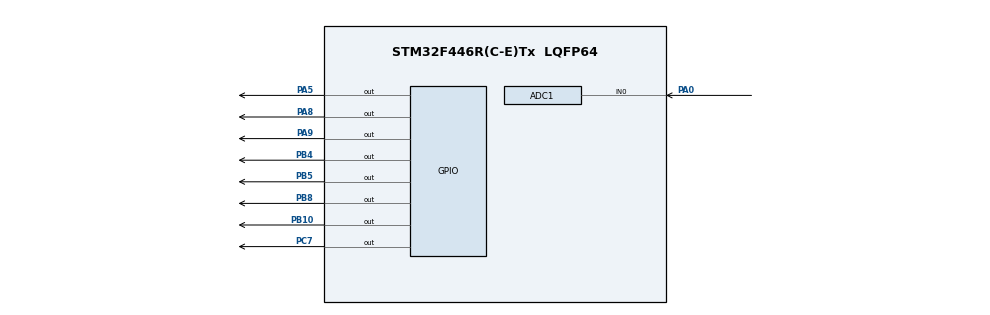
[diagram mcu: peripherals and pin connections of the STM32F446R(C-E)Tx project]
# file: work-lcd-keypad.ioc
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ADC1.Channel-0\#ChannelRegularConversion=ADC_CHANNEL_0
ADC1.ClockPrescaler=ADC_CLOCK_SYNC_PCLK_DIV2
ADC1.NbrOfConversionFlag=1
ADC1.Rank-0\#ChannelRegularConversion=1
ADC1.Resolution=ADC_RESOLUTION_10B
ADC1.SamplingTime-0\#ChannelRegularConversion=ADC_SAMPLETIME_3CYCLES
ADC1.master=1
Mcu.Family=STM32F4
Mcu.Name=STM32F446R(C-E)Tx
Mcu.Package=LQFP64
NVIC.PriorityGroup=NVIC_PRIORITYGROUP_4
PA0-WKUP.Signal=ADCx_IN0
PA13.Mode=Serial_Wire
PA13.Signal=SYS_JTMS-SWDIO
PA14.Mode=Serial_Wire
PA14.Signal=SYS_JTCK-SWCLK
PA5.Signal=GPIO_Output
PA8.Signal=GPIO_Output
PA9.Signal=GPIO_Output
PB10.Signal=GPIO_Output
PB4.Signal=GPIO_Output
PB5.Signal=GPIO_Output
PB8.Signal=GPIO_Output
PC7.Signal=GPIO_Output
PH0-OSC_IN.Mode=HSE-External-Clock-Source
PH0-OSC_IN.Signal=RCC_OSC_IN
PH1-OSC_OUT.Mode=HSE-External-Clock-Source
PH1-OSC_OUT.Signal=RCC_OSC_OUT
ProjectManager.HeapSize=0x200
ProjectManager.StackSize=0x400
ProjectManager.TargetToolchain=STM32CubeIDE
RCC.CortexFreq_Value=16000000
RCC.USBFreq_Value=96000000
RCC.VCOOutputFreq_Value=192000000
SH.ADCx_IN0.0=ADC1_IN0,IN0
TIM2.Prescaler=16-1
VP_TIM2_VS_ClockSourceINT.Mode=Internal
board=custom

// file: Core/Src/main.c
/* USER CODE BEGIN Header */
/**
  ******************************************************************************
  * @file           : main.c
  * @brief          : Main program body
  ******************************************************************************
  * @attention
  *
  * Copyright (c) 2025 STMicroelectronics.
  * All rights reserved.
  *
  * This software is licensed under terms that can be found in the LICENSE file
  * in the root directory of this software component.
  * If no LICENSE file comes with this software, it is provided AS-IS.
  *
  ******************************************************************************
  */
/* USER CODE END Header */
#include "main.h"

ADC_HandleTypeDef hadc1;

TIM_HandleTypeDef htim2;

/* USER CODE BEGIN PV */

#define LCD_RS GPIOA, GPIO_PIN_9
#define LCD_RW GPIOB, GPIO_PIN_8
#define LCD_EN GPIOC, GPIO_PIN_7
#define LCD_D4 GPIOB, GPIO_PIN_5
#define LCD_D5 GPIOB, GPIO_PIN_4
#define LCD_D6 GPIOB, GPIO_PIN_10
#define LCD_D7 GPIOA, GPIO_PIN_8

void delay_us(uint32_t us)
{
	TIM2->CNT = 0;
	while(TIM2->CNT < us);
}

uint32_t GetElapsedTick(uint32_t start)
{
	uint32_t end = HAL_GetTick();
	if (end >= start)
		return end - start;
	else
		return 0xffff - start + end;
}

void LCD_Enable() {
    HAL_GPIO_WritePin(LCD_EN, GPIO_PIN_SET);
    delay_us(10);
    HAL_GPIO_WritePin(LCD_EN, GPIO_PIN_RESET);
    delay_us(10);
}

void LCD_Send4Bit(uint8_t data) {
    HAL_GPIO_WritePin(LCD_D4, (data & 0x01) ? GPIO_PIN_SET : GPIO_PIN_RESET);
    HAL_GPIO_WritePin(LCD_D5, (data & 0x02) ? GPIO_PIN_SET : GPIO_PIN_RESET);
    HAL_GPIO_WritePin(LCD_D6, (data & 0x04) ? GPIO_PIN_SET : GPIO_PIN_RESET);
    HAL_GPIO_WritePin(LCD_D7, (data & 0x08) ? GPIO_PIN_SET : GPIO_PIN_RESET);
    LCD_Enable();
}

void LCD_SendCommand(uint8_t cmd) {
    HAL_GPIO_WritePin(LCD_RS, GPIO_PIN_RESET);
    LCD_Send4Bit(cmd >> 4);
    LCD_Send4Bit(cmd & 0x0F);
}

void LCD_SendData(uint8_t data) {
    HAL_GPIO_WritePin(LCD_RS, GPIO_PIN_SET);
    LCD_Send4Bit(data >> 4);
    LCD_Send4Bit(data & 0x0F);
}

void LCD_Init() {
    LCD_SendCommand(0x28); // 4비트 모드, 2라인, 5x8 폰트
    LCD_SendCommand(0x0C); // 디스플레이 ON, 커서 OFF
    LCD_SendCommand(0x06); // 자동 이동, 오른쪽으로 이동
    LCD_SendCommand(0x01); // 화면 클리어

    HAL_Delay(2);
}

void LCD_SetCursor(uint8_t row, uint8_t col) {
    uint8_t pos = (row == 0) ? 0x80 + col : 0xC0 + col;
    LCD_SendCommand(pos);
}

void LCD_Print(char* str) {
    while (*str) {
        LCD_SendData(*str++);
    }
}

/* USER CODE END PV */

void SystemClock_Config(void);
static void MX_GPIO_Init(void);
static void MX_TIM2_Init(void);
static void MX_ADC1_Init(void);

/* USER CODE BEGIN 0 */

void ToggleRunLed()
{
	HAL_GPIO_TogglePin(GPIOA, GPIO_PIN_5);
}

uint32_t tm_run_led;

void ChangeRunLed()
{
	if (GetElapsedTick(tm_run_led) >= 500)
	{
		tm_run_led = HAL_GetTick();
		ToggleRunLed();
	}
}

// **ADC 버튼 읽기**
uint16_t Read_ADC(void) {
    HAL_ADC_Start(&hadc1);
    HAL_ADC_PollForConversion(&hadc1, HAL_MAX_DELAY);
    return HAL_ADC_GetValue(&hadc1);
}

#define BTN_SEL 1
#define BTN_LEFT 2
#define BTN_RIGHT 3
#define BTN_UP 4
#define BTN_DOWN 5

uint8_t ReadButton()
{
	uint16_t adc = Read_ADC();
	if (adc < 100) return BTN_RIGHT;
	else if(adc < 200) return BTN_UP;
	else if (adc < 400) return BTN_DOWN;
	else if (adc < 600) return BTN_LEFT;
	else if (adc < 800) return BTN_SEL;
	else return 0;
}

void InitWork()
{
	// 타이머 활성화
	HAL_TIM_Base_Start(&htim2);

	LCD_Init();
	LCD_SetCursor(0, 0);
	LCD_Print("Keypad Ready!");
}

uint32_t tm_work1;
uint32_t cnt;

void DoWork()
{
	ChangeRunLed();

	if (GetElapsedTick(tm_work1) >= 500)
	{
		tm_work1 = HAL_GetTick();

		cnt++;

		uint8_t btn = ReadButton();

		char buff[32];
		buff[0] = 0;

		if (btn == BTN_SEL) sprintf(buff, "SELECT");
		else if (btn == BTN_LEFT) sprintf(buff, "LEFT");
		else if (btn == BTN_RIGHT) sprintf(buff, "RIGHT");
		else if (btn == BTN_UP) sprintf(buff, "UP");
		else if (btn == BTN_DOWN) sprintf(buff, "DOWN");

		LCD_Init();
		LCD_SetCursor(0, 0);
		LCD_Print(buff);
	}

}

/* USER CODE END 0 */

int main(void)
{

  /* MCU Configuration--------------------------------------------------------*/

  /* Reset of all peripherals, Initializes the Flash interface and the Systick. */
  HAL_Init();

  /* Configure the system clock */
  SystemClock_Config();

  /* Initialize all configured peripherals */
  MX_GPIO_Init();
  MX_TIM2_Init();
  MX_ADC1_Init();
  /* USER CODE BEGIN 2 */

  InitWork();
  /* USER CODE END 2 */

  /* Infinite loop */
  /* USER CODE BEGIN WHILE */
  while (1)
  {
	  DoWork();
    /* USER CODE END WHILE */

  }
}

void SystemClock_Config(void)
{
  RCC_OscInitTypeDef RCC_OscInitStruct = {0};
  RCC_ClkInitTypeDef RCC_ClkInitStruct = {0};

  /** Configure the main internal regulator output voltage
  */
  __HAL_RCC_PWR_CLK_ENABLE();
  __HAL_PWR_VOLTAGESCALING_CONFIG(PWR_REGULATOR_VOLTAGE_SCALE3);

  /** Initializes the RCC Oscillators according to the specified parameters
  * in the RCC_OscInitTypeDef structure.
  */
  RCC_OscInitStruct.OscillatorType = RCC_OSCILLATORTYPE_HSI;
  RCC_OscInitStruct.HSIState = RCC_HSI_ON;
  RCC_OscInitStruct.HSICalibrationValue = RCC_HSICALIBRATION_DEFAULT;
  RCC_OscInitStruct.PLL.PLLState = RCC_PLL_NONE;
  if (HAL_RCC_OscConfig(&RCC_OscInitStruct) != HAL_OK)
  {
    Error_Handler();
  }

  /** Initializes the CPU, AHB and APB buses clocks
  */
  RCC_ClkInitStruct.ClockType = RCC_CLOCKTYPE_HCLK|RCC_CLOCKTYPE_SYSCLK
                              |RCC_CLOCKTYPE_PCLK1|RCC_CLOCKTYPE_PCLK2;
  RCC_ClkInitStruct.SYSCLKSource = RCC_SYSCLKSOURCE_HSI;
  RCC_ClkInitStruct.AHBCLKDivider = RCC_SYSCLK_DIV1;
  RCC_ClkInitStruct.APB1CLKDivider = RCC_HCLK_DIV1;
  RCC_ClkInitStruct.APB2CLKDivider = RCC_HCLK_DIV1;

  if (HAL_RCC_ClockConfig(&RCC_ClkInitStruct, FLASH_LATENCY_0) != HAL_OK)
  {
    Error_Handler();
  }
}

static void MX_ADC1_Init(void)
{

  ADC_ChannelConfTypeDef sConfig = {0};

  /** Configure the global features of the ADC (Clock, Resolution, Data Alignment and number of conversion)
  */
  hadc1.Instance = ADC1;
  hadc1.Init.ClockPrescaler = ADC_CLOCK_SYNC_PCLK_DIV2;
  hadc1.Init.Resolution = ADC_RESOLUTION_10B;
  hadc1.Init.ScanConvMode = DISABLE;
  hadc1.Init.ContinuousConvMode = DISABLE;
  hadc1.Init.DiscontinuousConvMode = DISABLE;
  hadc1.Init.ExternalTrigConvEdge = ADC_EXTERNALTRIGCONVEDGE_NONE;
  hadc1.Init.ExternalTrigConv = ADC_SOFTWARE_START;
  hadc1.Init.DataAlign = ADC_DATAALIGN_RIGHT;
  hadc1.Init.NbrOfConversion = 1;
  hadc1.Init.DMAContinuousRequests = DISABLE;
  hadc1.Init.EOCSelection = ADC_EOC_SINGLE_CONV;
  if (HAL_ADC_Init(&hadc1) != HAL_OK)
  {
    Error_Handler();
  }

  /** Configure for the selected ADC regular channel its corresponding rank in the sequencer and its sample time.
  */
  sConfig.Channel = ADC_CHANNEL_0;
  sConfig.Rank = 1;
  sConfig.SamplingTime = ADC_SAMPLETIME_3CYCLES;
  if (HAL_ADC_ConfigChannel(&hadc1, &sConfig) != HAL_OK)
  {
    Error_Handler();
  }

}

static void MX_TIM2_Init(void)
{

  TIM_ClockConfigTypeDef sClockSourceConfig = {0};
  TIM_MasterConfigTypeDef sMasterConfig = {0};

  htim2.Instance = TIM2;
  htim2.Init.Prescaler = 16-1;
  htim2.Init.CounterMode = TIM_COUNTERMODE_UP;
  htim2.Init.Period = 4294967295;
  htim2.Init.ClockDivision = TIM_CLOCKDIVISION_DIV1;
  htim2.Init.AutoReloadPreload = TIM_AUTORELOAD_PRELOAD_DISABLE;
  if (HAL_TIM_Base_Init(&htim2) != HAL_OK)
  {
    Error_Handler();
  }
  sClockSourceConfig.ClockSource = TIM_CLOCKSOURCE_INTERNAL;
  if (HAL_TIM_ConfigClockSource(&htim2, &sClockSourceConfig) != HAL_OK)
  {
    Error_Handler();
  }
  sMasterConfig.MasterOutputTrigger = TIM_TRGO_RESET;
  sMasterConfig.MasterSlaveMode = TIM_MASTERSLAVEMODE_DISABLE;
  if (HAL_TIMEx_MasterConfigSynchronization(&htim2, &sMasterConfig) != HAL_OK)
  {
    Error_Handler();
  }

}

static void MX_GPIO_Init(void)
{
  GPIO_InitTypeDef GPIO_InitStruct = {0};

  /* GPIO Ports Clock Enable */
  __HAL_RCC_GPIOH_CLK_ENABLE();
  __HAL_RCC_GPIOA_CLK_ENABLE();
  __HAL_RCC_GPIOB_CLK_ENABLE();
  __HAL_RCC_GPIOC_CLK_ENABLE();

  /*Configure GPIO pin Output Level */
  HAL_GPIO_WritePin(GPIOA, GPIO_PIN_5|GPIO_PIN_8|GPIO_PIN_9, GPIO_PIN_RESET);

  /*Configure GPIO pin Output Level */
  HAL_GPIO_WritePin(GPIOB, GPIO_PIN_10|GPIO_PIN_4|GPIO_PIN_5|GPIO_PIN_8, GPIO_PIN_RESET);

  /*Configure GPIO pin Output Level */
  HAL_GPIO_WritePin(GPIOC, GPIO_PIN_7, GPIO_PIN_RESET);

  /*Configure GPIO pins : PA5 PA8 PA9 */
  GPIO_InitStruct.Pin = GPIO_PIN_5|GPIO_PIN_8|GPIO_PIN_9;
  GPIO_InitStruct.Mode = GPIO_MODE_OUTPUT_PP;
  GPIO_InitStruct.Pull = GPIO_NOPULL;
  GPIO_InitStruct.Speed = GPIO_SPEED_FREQ_LOW;
  HAL_GPIO_Init(GPIOA, &GPIO_InitStruct);

  /*Configure GPIO pins : PB10 PB4 PB5 PB8 */
  GPIO_InitStruct.Pin = GPIO_PIN_10|GPIO_PIN_4|GPIO_PIN_5|GPIO_PIN_8;
  GPIO_InitStruct.Mode = GPIO_MODE_OUTPUT_PP;
  GPIO_InitStruct.Pull = GPIO_NOPULL;
  GPIO_InitStruct.Speed = GPIO_SPEED_FREQ_LOW;
  HAL_GPIO_Init(GPIOB, &GPIO_InitStruct);

  /*Configure GPIO pin : PC7 */
  GPIO_InitStruct.Pin = GPIO_PIN_7;
  GPIO_InitStruct.Mode = GPIO_MODE_OUTPUT_PP;
  GPIO_InitStruct.Pull = GPIO_NOPULL;
  GPIO_InitStruct.Speed = GPIO_SPEED_FREQ_LOW;
  HAL_GPIO_Init(GPIOC, &GPIO_InitStruct);

}

void Error_Handler(void)
{
  __disable_irq();
  while (1)
  {
  }
}
